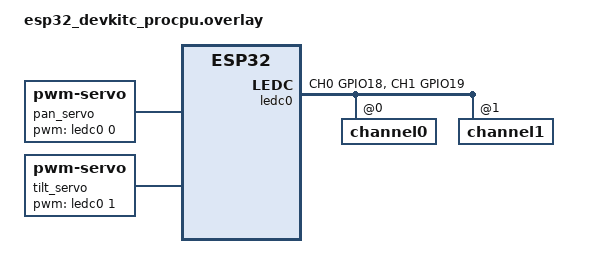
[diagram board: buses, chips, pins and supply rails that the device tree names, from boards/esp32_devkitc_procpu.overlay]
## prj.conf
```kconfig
CONFIG_PWM=y
CONFIG_PWM_LED_ESP32=y
CONFIG_CSSE4011_NET=y

CONFIG_LOG=y

CONFIG_SHELL=y
CONFIG_DEVICE_SHELL=y

CONFIG_PRINTK=y

CONFIG_LOG=y
CONFIG_REQUIRES_FLOAT_PRINTF=y

CONFIG_HEAP_MEM_POOL_SIZE=52224

# Networking configuration
CONFIG_POSIX_API=y
CONFIG_NETWORKING=y
CONFIG_NET_IPV4=y
# CONFIG_NET_TCP=y
CONFIG_NET_UDP=y
CONFIG_NET_SOCKETS=y

# Wi-Fi configuration for ESP32
CONFIG_WIFI=y
CONFIG_WIFI_ESP32=y
CONFIG_NET_L2_ETHERNET=n

# Network buffer sizes
CONFIG_NET_PKT_RX_COUNT=16
CONFIG_NET_PKT_TX_COUNT=16
CONFIG_NET_BUF_RX_COUNT=64
CONFIG_NET_BUF_TX_COUNT=64
CONFIG_NET_BUF_DATA_SIZE=256

# CONFIG_LOG=y
# CONFIG_NET_LOG=y
# CONFIG_NET_STATISTICS=y

# DHCP for automatic IP address
CONFIG_NET_DHCPV4=n
CONFIG_NET_CONFIG_SETTINGS=n
```

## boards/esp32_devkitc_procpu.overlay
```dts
/* SPDX-License-Identifier: Apache-2.0 */
/ {
	pan_servo: pan_servo {
		compatible = "pwm-servo";
		pwms = <&ledc0 0 PWM_MSEC(20) PWM_POLARITY_NORMAL>;
		min-pulse = <PWM_USEC(1000)>;
		max-pulse = <PWM_USEC(2000)>;
	};
	tilt_servo: tilt_servo {
		compatible = "pwm-servo";
		pwms = <&ledc0 1 PWM_MSEC(20) PWM_POLARITY_NORMAL>;
		min-pulse = <PWM_USEC(1000)>;
		max-pulse = <PWM_USEC(2000)>;
	};
};

&pinctrl {
    ledc0_default: ledc0_default {
      group1 {
        pinmux = <LEDC_CH0_GPIO18>,
                 <LEDC_CH1_GPIO19>;
        output-enable;
      };
    };
};

&ledc0 {
    pinctrl-0 = <&ledc0_default>;
    pinctrl-names = "default";
    status = "okay";
    #address-cells = <1>;
    #size-cells = <0>;
    channel0@0 {
        reg = <0x0>;
        timer = <0>;
    };
    channel1@1 {
        reg = <0x1>;
        timer = <1>;
    };
};
```

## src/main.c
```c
/*
 * Copyright (c) 2016 Intel Corporation
 *
 * SPDX-License-Identifier: Apache-2.0
 */

/**
 * @file Sample app to demonstrate PWM-based servomotor control
 */

#include <zephyr/device.h>
#include <zephyr/kernel.h>
#include <stdio.h>
#include <string.h>

#include <zephyr/net/wifi_mgmt.h>
#include <zephyr/net/net_event.h>
#include <zephyr/net/net_if.h>
#include <zephyr/net/net_ip.h>
#include <zephyr/net/socket.h>
#include <zephyr/drivers/uart.h>
#include <zephyr/shell/shell.h>

#include <zephyr/logging/log.h>

#include "common/my_network.h" // For wifi credentials
#include "zephyr/net/wifi.h"
#include <zephyr/sys/printk.h>
#include <zephyr/drivers/pwm.h>
#include <zephyr/logging/log.h>

void network_thread(void);
int servo_thread(void);

static struct net_mgmt_event_callback wifi_cb;
static bool wifi_connected = false;
 
#define SERVO_STACK 2048
#define SERVO_PRIORITY 5
#define NETWORK_STACK 2048
#define NETWORK_PRIORITY 5

#define STEP PWM_USEC(100)

K_FIFO_DEFINE(servo_cmd_q);

LOG_MODULE_REGISTER(servo_node, LOG_LEVEL_DBG);

static const struct pwm_dt_spec tilt_servo = PWM_DT_SPEC_GET(DT_NODELABEL(tilt_servo));
static const struct pwm_dt_spec pan_servo = PWM_DT_SPEC_GET(DT_NODELABEL(pan_servo));
static const uint32_t min_pulse = DT_PROP(DT_NODELABEL(pan_servo), min_pulse);
static const uint32_t max_pulse = DT_PROP(DT_NODELABEL(pan_servo), max_pulse);

enum direction {
	DOWN,
	UP,
    LEFT,
    RIGHT,
    CENTRE
};

struct servo_cmd_t {
    void *res;
    enum direction dir;
    int mag; 
};

K_THREAD_DEFINE(servo_tid, SERVO_STACK, servo_thread, NULL, NULL, NULL, SERVO_PRIORITY, 0, 0);
K_THREAD_DEFINE(network_tid, NETWORK_STACK, network_thread, NULL, NULL, NULL, NETWORK_PRIORITY, 0, 0);

static void wifi_connect(void);

static ssize_t sendall(int sock, const void *buf, size_t len)
{
    while (len) {
        ssize_t out_len = zsock_send(sock, buf, len, 0);
        if (out_len < 0) {
            LOG_ERR("Error %zd %d: %p", out_len, errno, buf);
            k_msleep(100);
            return out_len;
        }
        buf = (const char *)buf + out_len;
        len -= out_len;
    }
    return 0;
}

static void wifi_connect_handler(struct net_mgmt_event_callback *cb,
    uint32_t mgmt_event, struct net_if *iface)
{
    if (mgmt_event == NET_EVENT_WIFI_CONNECT_RESULT) {
        struct wifi_status *status = (struct wifi_status *)cb->info;
        if (status && status->status == 0) {
            wifi_connected = true;
            LOG_INF("Wi-Fi connected");
        } else {
            LOG_ERR("Wi-Fi connection failed\n");
        }
    } else if (mgmt_event == NET_EVENT_WIFI_DISCONNECT_RESULT) {
        wifi_connected = false;
        LOG_WRN("Wi-Fi disconnected, attempting reconnect...");
        k_sleep(K_SECONDS(2)); 
        wifi_connect();
    } else {
        LOG_ERR("Unknown Wi-Fi event: %d", mgmt_event);
    }
} 

static void wifi_connect(void)
{
    LOG_INF("Connecting to Wi-Fi...");
    struct net_if *iface = net_if_get_default();
    struct wifi_connect_req_params params = {
        .ssid = WIFI_SSID,
        .ssid_length = strlen(WIFI_SSID),
        .psk = WIFI_PASS,
        .psk_length = strlen(WIFI_PASS),
        .band = WIFI_FREQ_BAND_2_4_GHZ,
        .security = WIFI_SECURITY_TYPE_PSK,
        .channel = WIFI_CHANNEL_ANY,
        .timeout = SYS_FOREVER_MS,
    };
    
    net_mgmt_init_event_callback(&wifi_cb, wifi_connect_handler,
        NET_EVENT_WIFI_CONNECT_RESULT | NET_EVENT_WIFI_DISCONNECT_RESULT);
    net_mgmt_add_event_callback(&wifi_cb);

    int ret = net_mgmt(NET_REQUEST_WIFI_CONNECT, iface, &params, sizeof(params));
    if (ret) {
        printk("Wi-Fi connect request failed: %d\n", ret);
    }
}
void network_thread(void)
{
    init_wifi();
    init_ip_net(SERVO_IP);
    int sock = start_udp(SERVO_SERVER_PORT, BRIDGE_IP);
    char buf[16];  // Make it a bit larger than needed
    int size = 0;
    while (1) {
        struct servo_cmd_t *cmd = k_malloc(sizeof(struct servo_cmd_t));
        if (!cmd) {
            LOG_ERR("Failed to allocate servo_cmd_t");
            k_sleep(K_MSEC(100));
            continue;
        }

        size = zsock_recv(sock, buf, sizeof(buf) - 1, 0);
        if (size <= 0) {
            LOG_ERR("recv failed: %d", size);
            k_free(cmd);
            continue;
        }

        buf[size] = '\0';  // Safe now

        char dir[8] = {0};  // Ensure null-termination
        int mag = 0;
        char *colon = strchr(buf, ':');
        if (colon) {
            size_t len = colon - buf;
            if (len < sizeof(dir)) {
                strncpy(dir, buf, len);
                dir[len] = '\0';
                mag = atoi(colon + 1);

            } else {
                LOG_ERR("Direction too long");
            }
        } else {
            LOG_ERR("Invalid format, missing ':'");
        }        

        cmd->mag = mag;

        if (strcmp(dir, "left") == 0) {
            cmd->dir = LEFT;
        } else if (strcmp(dir, "right") == 0) {
            cmd->dir = RIGHT;
        } else if (strcmp(dir, "up") == 0) {
            cmd->dir = UP;
        } else if (strcmp(dir, "down") == 0) {
            cmd->dir = DOWN;
        } else if (strcmp(dir, "centre") == 0) {
            cmd->dir = CENTRE;
        } else {
            LOG_ERR("Invalid direction: %s", dir);
            k_free(cmd);
            continue;
        }

        k_fifo_put(&servo_cmd_q, cmd);
        k_sleep(K_MSEC(100));
    }
}

int servo_thread(void)
{
    int ret = 0; 
	uint32_t pan_pw = (min_pulse + max_pulse) / 2;
	uint32_t tilt_pw = (min_pulse + max_pulse) / 2;
	/*uint32_t pan_pw = min_pulse;*/
	/*uint32_t tilt_pw = min_pulse;*/
    struct servo_cmd_t *cmd; 
	if (!pwm_is_ready_dt(&pan_servo)) {
		printk("Error: PWM device %s is not ready\n", pan_servo.dev->name);
		return 0;
	}
	if (!pwm_is_ready_dt(&tilt_servo)) {
		printk("Error: PWM device %s is not ready\n", tilt_servo.dev->name);
		return 0;
	}
    ret = pwm_set_pulse_dt(&pan_servo, pan_pw);
    if (ret < 0) {
        printk("Error %d: failed to set pulse width\n", ret);
        return 0;
    }
    ret = pwm_set_pulse_dt(&tilt_servo, tilt_pw);
    if (ret < 0) {
        printk("Error %d: failed to set pulse width\n", ret);
        return 0;
    }
    while(1) {
        cmd = k_fifo_get(&servo_cmd_q, K_FOREVER);
        if (cmd == NULL) {
            LOG_ERR("NULL cmd");
            continue;
        }
        switch (cmd->dir) {
            case DOWN:
                if (!(tilt_pw >= max_pulse)) {
                    tilt_pw += cmd->mag * STEP; 
                    ret = pwm_set_pulse_dt(&tilt_servo, tilt_pw);
                    if (ret < 0) {
                        printk("Error %d: failed to set pulse width\n", ret);
                    }
                }
                break;
            case LEFT:
                if (!(pan_pw >= max_pulse)) {
                    pan_pw += cmd->mag * STEP; 
                    ret = pwm_set_pulse_dt(&pan_servo, pan_pw);
                    if (ret < 0) {
                        printk("Error %d: failed to set pulse width\n", ret);
                    }
                }
                break;
            case RIGHT:
                if (!(pan_pw <= min_pulse)) {
                    pan_pw -= cmd->mag * STEP; 
                    ret = pwm_set_pulse_dt(&pan_servo, pan_pw);
                    if (ret < 0) {
                        printk("Error %d: failed to set pulse width\n", ret);
                    }
                }
                break;
            case UP:
                if (!(tilt_pw <= min_pulse)) {
                    tilt_pw -= cmd->mag * STEP; 
                    ret = pwm_set_pulse_dt(&tilt_servo, tilt_pw);
                    if (ret < 0) {
                        printk("Error %d: failed to set pulse width\n", ret);
                    }
                }
                break;
            case CENTRE:
                pan_pw = (min_pulse + max_pulse) / 2;
                tilt_pw = (min_pulse + max_pulse) / 2;
                ret = pwm_set_pulse_dt(&tilt_servo, tilt_pw);
                ret = pwm_set_pulse_dt(&pan_servo, pan_pw);
                break;
            default:
                break;
        }
        k_free(cmd);
    }
}
```
